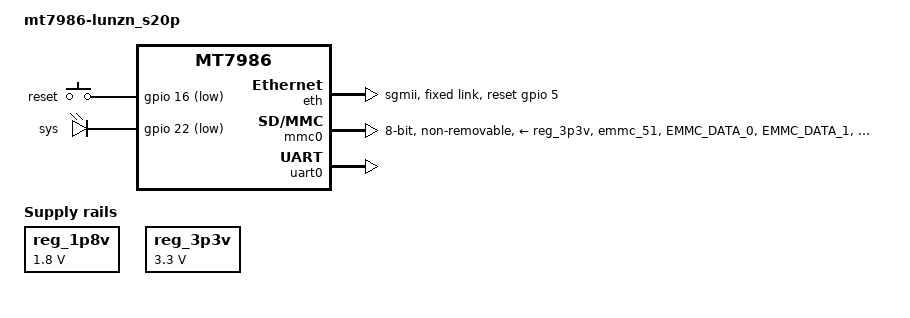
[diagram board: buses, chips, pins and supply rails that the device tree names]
// SPDX-License-Identifier: GPL-2.0-or-later

/dts-v1/;
#include <dt-bindings/input/linux-event-codes.h>
#include "mt7986.dtsi"
#include <dt-bindings/gpio/gpio.h>

/ {
	#address-cells = <1>;
	#size-cells = <1>;
	model = "mt7986-lunzn_s20p";
	compatible = "mediatek,mt7986", "mediatek,mt7986-rfb";

	chosen {
		stdout-path = &uart0;
		tick-timer = &timer0;
	};

	config {
		bootcmd = "mtkboardboot";
		blink_led = "sys";
		system_led = "sys";
		success_led = "sys";
	};

	gpio-keys {
		compatible = "gpio-keys";

		button-reset {
			label = "reset";
			gpios = <&gpio 16 GPIO_ACTIVE_LOW>;
		};
	};

	gpio-leds {
		compatible = "gpio-leds";

		led_sys: sys {
			label = "sys";
			gpios = <&gpio 22 GPIO_ACTIVE_LOW>;
			default-state = "on";
		};
	};

	reg_1p8v: regulator-1p8v {
		compatible = "regulator-fixed";
		regulator-name = "fixed-1.8V";
		regulator-min-microvolt = <1800000>;
		regulator-max-microvolt = <1800000>;
		regulator-boot-on;
		regulator-always-on;
	};

	reg_3p3v: regulator-3p3v {
		compatible = "regulator-fixed";
		regulator-name = "fixed-3.3V";
		regulator-min-microvolt = <3300000>;
		regulator-max-microvolt = <3300000>;
		regulator-boot-on;
		regulator-always-on;
	};
};

&eth {
	status = "okay";
	mediatek,gmac-id = <0>;
	phy-mode = "sgmii";
	mediatek,switch = "mt7531";
	reset-gpios = <&gpio 5 GPIO_ACTIVE_HIGH>;

	fixed-link {
		speed = <1000>;
		full-duplex;
	};
};

&mmc0 {
	bus-width = <8>;
	cap-mmc-highspeed;
	cap-mmc-hw-reset;
	max-frequency = <52000000>;
	non-removable;
	pinctrl-names = "default";
	pinctrl-0 = <&mmc0_pins_default>;
	vmmc-supply = <&reg_3p3v>;
	vqmmc-supply = <&reg_1p8v>;
	status = "okay";
};

&pinctrl {
	mmc0_pins_default: mmc0default {
		mux {
			function = "flash";
			groups =  "emmc_51";
		};

		conf-cmd-dat {
			pins = "EMMC_DATA_0", "EMMC_DATA_1", "EMMC_DATA_2",
			       "EMMC_DATA_3", "EMMC_DATA_4", "EMMC_DATA_5",
			       "EMMC_DATA_6", "EMMC_DATA_7", "EMMC_CMD";
			input-enable;
			drive-strength = <MTK_DRIVE_4mA>;
			bias-pull-up = <MTK_PUPD_SET_R1R0_01>;
		};

		conf-clk {
			pins = "EMMC_CK";
			drive-strength = <MTK_DRIVE_6mA>;
			bias-pull-down = <MTK_PUPD_SET_R1R0_10>;
		};

		conf-dsl {
			pins = "EMMC_DSL";
			bias-pull-down = <MTK_PUPD_SET_R1R0_10>;
		};

		conf-rst {
			pins = "EMMC_RSTB";
			drive-strength = <MTK_DRIVE_4mA>;
			bias-pull-up = <MTK_PUPD_SET_R1R0_01>;
		};
	};
};

&uart0 {
	status = "okay";
};

&uart1 {
	pinctrl-names = "default";
	pinctrl-0 = <&uart1_pins>;
	status = "disabled";
};

&watchdog {
	status = "disabled";
};
